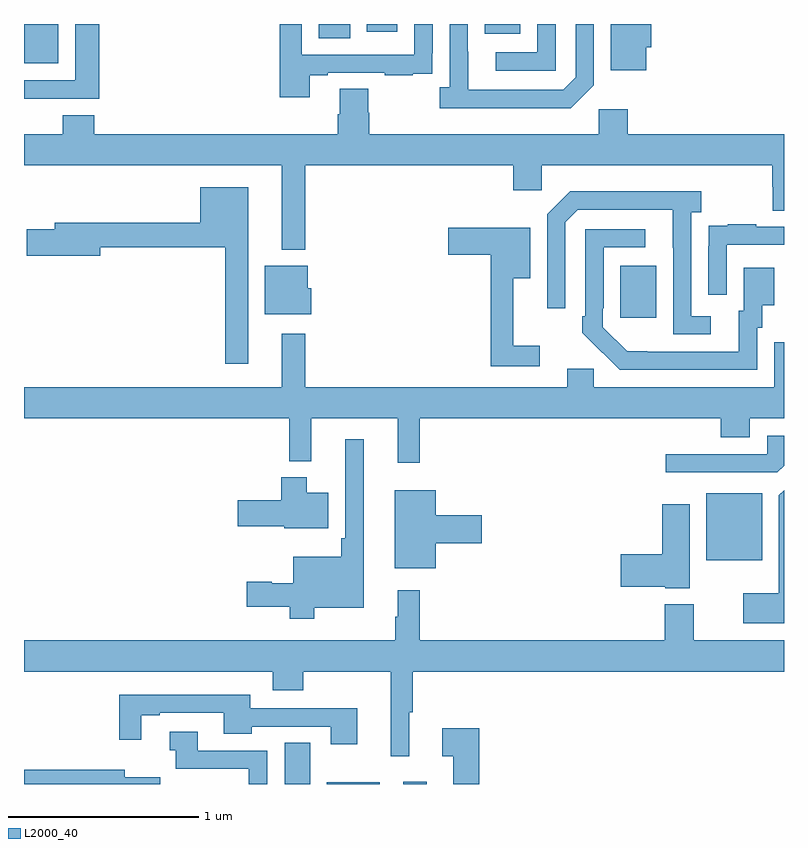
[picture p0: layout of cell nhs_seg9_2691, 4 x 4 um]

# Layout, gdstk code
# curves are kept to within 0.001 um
import gdstk
lib = gdstk.Library(unit=1e-6, precision=1e-09)
def R(c, l, rs):  # rectangles x0, y0, x1, y1
    for r in rs: c.add(gdstk.rectangle(r[:2], r[2:], *l))
def P(c, l, *ps):  # polygons
    for p in ps: c.add(gdstk.Polygon(p, *l))
L2000_40 = (2000, 40)

nhs_seg9_2691 = lib.new_cell('nhs_seg9_2691')
R(nhs_seg9_2691, L2000_40, [(266.372,1190.5,266.506,1190.717), (266.594,1190.5,266.872,1190.509), (266.997,1190.5,267.121,1190.512), (268.592,1191.677,268.885,1192.03), (268.139,1192.953,268.327,1193.227), (265,1194.293,265.18,1194.5), (266.552,1194.424,266.716,1194.5), (267.425,1194.449,267.613,1194.5), (266.804,1194.459,266.965,1194.5)])
P(nhs_seg9_2691, L2000_40, [(267.798,1194.5),(267.702,1194.5),(267.702,1194.351),(267.483,1194.351),(267.483,1194.255),(267.798,1194.255)],
  [(265.397,1194.5),(265.271,1194.5),(265.271,1194.204),(265,1194.204),(265,1194.107),(265.397,1194.107)],
  [(267.999,1194.177),(267.999,1194.5),(267.903,1194.5),(267.903,1194.219),(267.837,1194.153),(267.337,1194.153),(267.336,1194.5),(267.24,1194.5),(267.24,1194.166),(267.189,1194.166),(267.189,1194.056),(267.878,1194.056)],
  [(266.503,1194.231),(266.599,1194.231),(266.599,1194.243),(266.899,1194.243),(266.899,1194.231),(267.047,1194.231),(267.047,1194.237),(267.149,1194.237),(267.149,1194.346),(267.15,1194.346),(267.15,1194.5),(267.054,1194.5),(267.054,1194.339),(266.463,1194.339),(266.463,1194.5),(266.347,1194.5),(266.347,1194.114),(266.503,1194.114)],
  [(268.276,1194.378),(268.301,1194.378),(268.301,1194.5),(268.088,1194.5),(268.088,1194.257),(268.276,1194.257)],
  [(266.479,1193.756),(267.575,1193.756),(267.575,1193.625),(267.726,1193.625),(267.726,1193.756),(268.937,1193.756),(268.937,1193.643),(268.942,1193.643),(268.942,1193.518),(269,1193.518),(269,1193.92),(268.178,1193.92),(268.178,1194.052),(268.026,1194.052),(268.026,1193.92),(266.816,1193.92),(266.816,1194.033),(266.811,1194.033),(266.811,1194.158),(266.663,1194.158),(266.663,1194.026),(266.651,1194.026),(266.651,1193.92),(265.37,1193.92),(265.37,1194.019),(265.205,1194.019),(265.205,1193.92),(265,1193.92),(265,1193.756),(266.357,1193.756),(266.357,1193.312),(266.479,1193.312)],
  [(266.179,1193.641),(265.928,1193.641),(265.928,1193.455),(265.163,1193.455),(265.163,1193.421),(265.014,1193.421),(265.014,1193.279),(265.402,1193.279),(265.402,1193.326),(266.058,1193.326),(266.058,1192.713),(266.179,1192.713)],
  [(268.615,1192.962),(268.512,1192.962),(268.512,1193.51),(268.564,1193.51),(268.564,1193.62),(267.874,1193.62),(267.753,1193.499),(267.753,1193.004),(267.849,1193.004),(267.849,1193.457),(267.915,1193.523),(268.415,1193.523),(268.416,1192.866),(268.615,1192.866)],
  [(268.698,1193.337),(269,1193.337),(269,1193.433),(268.853,1193.433),(268.853,1193.446),(268.705,1193.446),(268.705,1193.439),(268.603,1193.439),(268.603,1193.33),(268.602,1193.33),(268.602,1193.076),(268.698,1193.076)],
  [(267.715,1192.807),(267.575,1192.807),(267.575,1193.162),(267.664,1193.162),(267.664,1193.427),(267.234,1193.427),(267.234,1193.285),(267.457,1193.285),(267.457,1192.698),(267.715,1192.698)],
  [(268.86,1192.902),(268.885,1192.902),(268.885,1193.021),(268.948,1193.021),(268.948,1193.218),(268.787,1193.218),(268.787,1192.992),(268.763,1192.992),(268.763,1192.776),(268.176,1192.777),(268.047,1192.905),(268.047,1193.005),(268.05,1193.005),(268.05,1193.325),(268.27,1193.325),(268.27,1193.421),(267.954,1193.421),(267.954,1192.963),(267.939,1192.963),(267.939,1192.875),(268.136,1192.68),(268.86,1192.68)],
  [(266.512,1193.109),(266.494,1193.109),(266.494,1193.227),(266.267,1193.227),(266.267,1192.973),(266.512,1192.973)],
  [(267.083,1192.424),(268.667,1192.424),(268.667,1192.325),(268.819,1192.325),(268.819,1192.424),(269,1192.424),(269,1192.824),(268.949,1192.824),(268.949,1192.588),(267.999,1192.588),(267.999,1192.686),(267.86,1192.686),(267.86,1192.588),(266.479,1192.588),(266.479,1192.87),(266.357,1192.87),(266.357,1192.588),(265,1192.588),(265,1192.424),(266.395,1192.424),(266.395,1192.199),(266.513,1192.199),(266.513,1192.424),(266.966,1192.424),(266.966,1192.191),(267.083,1192.191)],
  [(269,1192.175),(269,1192.332),(268.911,1192.332),(268.911,1192.236),(268.377,1192.236),(268.377,1192.14),(268.965,1192.14)],
  [(266.527,1191.428),(266.788,1191.428),(266.788,1192.315),(266.691,1192.315),(266.691,1191.793),(266.671,1191.793),(266.671,1191.697),(266.417,1191.697),(266.417,1191.556),(266.303,1191.556),(266.303,1191.564),(266.172,1191.564),(266.172,1191.434),(266.398,1191.434),(266.398,1191.371),(266.527,1191.371)],
  [(266.602,1192.033),(266.488,1192.033),(266.488,1192.114),(266.354,1192.114),(266.354,1191.993),(266.124,1191.993),(266.124,1191.856),(266.37,1191.856),(266.37,1191.845),(266.602,1191.845)],
  [(269,1192.046),(268.973,1192.019),(268.973,1191.505),(268.785,1191.505),(268.785,1191.347),(269,1191.347)],
  [(267.166,1191.767),(267.409,1191.767),(267.409,1191.914),(267.166,1191.914),(267.166,1192.045),(266.951,1192.045),(266.951,1191.635),(267.166,1191.635)],
  [(268.504,1191.973),(268.358,1191.973),(268.358,1191.71),(268.14,1191.71),(268.14,1191.539),(268.374,1191.539),(268.374,1191.53),(268.504,1191.53)],
  [(265,1191.092),(266.309,1191.092),(266.309,1190.993),(266.469,1190.993),(266.469,1191.092),(266.93,1191.092),(266.93,1190.646),(267.028,1190.646),(267.028,1190.877),(267.047,1190.877),(267.047,1191.092),(269,1191.092),(269,1191.256),(268.525,1191.256),(268.525,1191.445),(268.373,1191.445),(268.373,1191.256),(267.083,1191.256),(267.083,1191.52),(266.966,1191.52),(266.966,1191.38),(266.955,1191.38),(266.955,1191.256),(265,1191.256)],
  [(266.755,1190.898),(266.191,1190.898),(266.191,1190.97),(265.501,1190.97),(265.501,1190.733),(265.618,1190.733),(265.618,1190.862),(265.714,1190.862),(265.714,1190.874),(266.051,1190.874),(266.051,1190.765),(266.199,1190.765),(266.199,1190.802),(266.615,1190.802),(266.615,1190.709),(266.755,1190.709)],
  [(267.395,1190.794),(267.201,1190.794),(267.201,1190.647),(267.26,1190.647),(267.26,1190.5),(267.395,1190.5)],
  [(266.28,1190.676),(265.915,1190.676),(265.915,1190.775),(265.767,1190.775),(265.767,1190.678),(265.798,1190.678),(265.798,1190.58),(266.184,1190.58),(266.184,1190.5),(266.28,1190.5)],
  [(265.717,1190.536),(265.53,1190.536),(265.53,1190.576),(265,1190.576),(265,1190.5),(265.717,1190.5)])

lib.write_gds('nhs_seg9_2691.gds')
